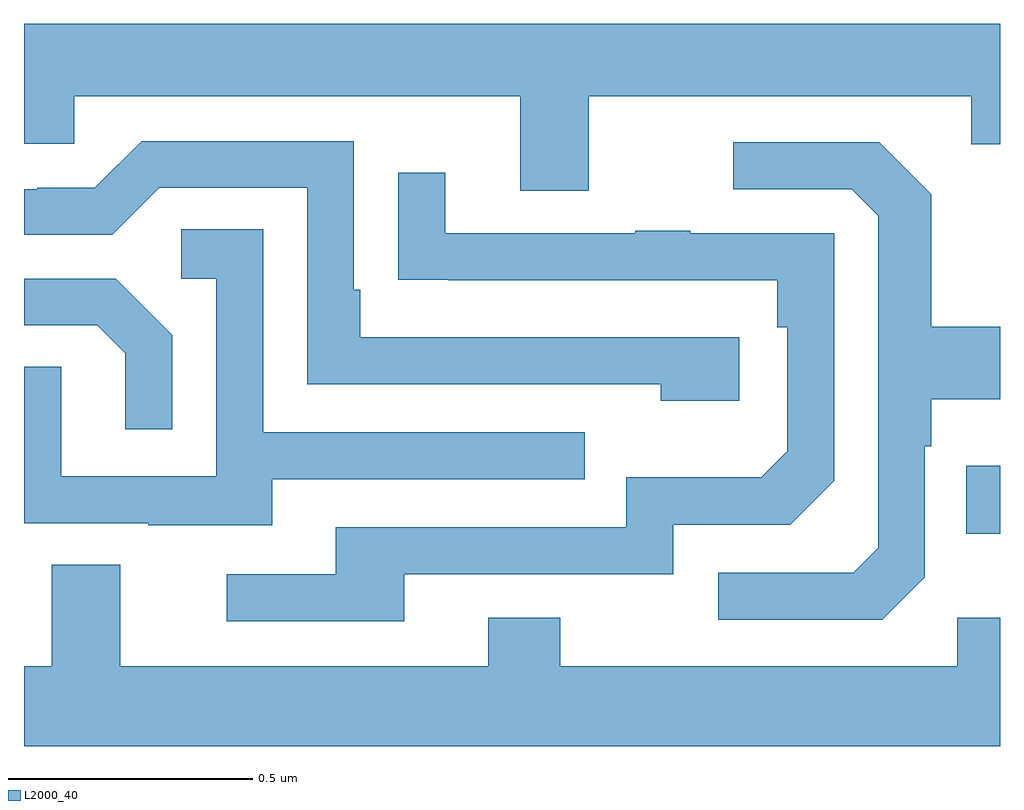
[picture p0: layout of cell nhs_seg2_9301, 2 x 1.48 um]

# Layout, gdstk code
import gdstk
lib = gdstk.Library(unit=1e-6, precision=1e-09)
def R(c, l, rs):  # rectangles x0, y0, x1, y1
    for r in rs: c.add(gdstk.rectangle(r[:2], r[2:], *l))
def P(c, l, *ps):  # polygons
    for p in ps: c.add(gdstk.Polygon(p, *l))
L2000_40 = (2000, 40)

nhs_seg2_9301 = lib.new_cell('nhs_seg2_9301')
R(nhs_seg2_9301, L2000_40, [(228.931,630.755,229,630.895)])
P(nhs_seg2_9301, L2000_40, [(228.157,631.652),(228.941,631.652),(228.941,631.553),(229,631.553),(229,631.8),(227,631.8),(227,631.554),(227.103,631.554),(227.103,631.652),(228.017,631.652),(228.017,631.458),(228.157,631.458)],
  [(228.466,631.158),(227.689,631.158),(227.689,631.255),(227.676,631.255),(227.676,631.56),(227.241,631.56),(227.145,631.464),(227.027,631.464),(227.027,631.461),(227,631.461),(227,631.368),(227.181,631.368),(227.277,631.464),(227.58,631.464),(227.58,631.062),(228.305,631.062),(228.305,631.028),(228.466,631.028)],
  [(228.846,630.666),(228.846,630.935),(228.859,630.935),(228.859,631.031),(229,631.031),(229,631.179),(228.859,631.179),(228.859,631.451),(228.753,631.557),(228.453,631.557),(228.453,631.461),(228.696,631.461),(228.75,631.407),(228.75,630.726),(228.699,630.675),(228.423,630.675),(228.423,630.579),(228.759,630.579)],
  [(227.779,630.672),(228.33,630.672),(228.33,630.774),(228.57,630.774),(228.66,630.864),(228.66,631.371),(228.365,631.371),(228.365,631.376),(228.253,631.376),(228.253,631.371),(227.863,631.371),(227.863,631.495),(227.767,631.495),(227.767,631.276),(227.869,631.276),(227.869,631.275),(228.544,631.275),(228.544,631.178),(228.564,631.178),(228.564,630.924),(228.511,630.871),(228.234,630.871),(228.234,630.768),(227.639,630.768),(227.639,630.672),(227.415,630.672),(227.415,630.576),(227.779,630.576)],
  [(227.509,630.867),(228.149,630.867),(228.149,630.963),(227.49,630.963),(227.49,631.379),(227.322,631.379),(227.322,631.278),(227.394,631.278),(227.394,630.873),(227.076,630.873),(227.076,631.097),(227,631.097),(227,630.777),(227.255,630.777),(227.255,630.773),(227.509,630.773)],
  [(227.304,631.162),(227.188,631.278),(227,631.278),(227,631.182),(227.15,631.182),(227.207,631.125),(227.207,630.969),(227.304,630.969)],
  [(229,630.583),(228.912,630.583),(228.912,630.484),(228.099,630.484),(228.099,630.583),(227.951,630.583),(227.951,630.484),(227.197,630.484),(227.197,630.692),(227.057,630.692),(227.057,630.484),(227,630.484),(227,630.32),(229,630.32)])

lib.write_gds('nhs_seg2_9301.gds')
